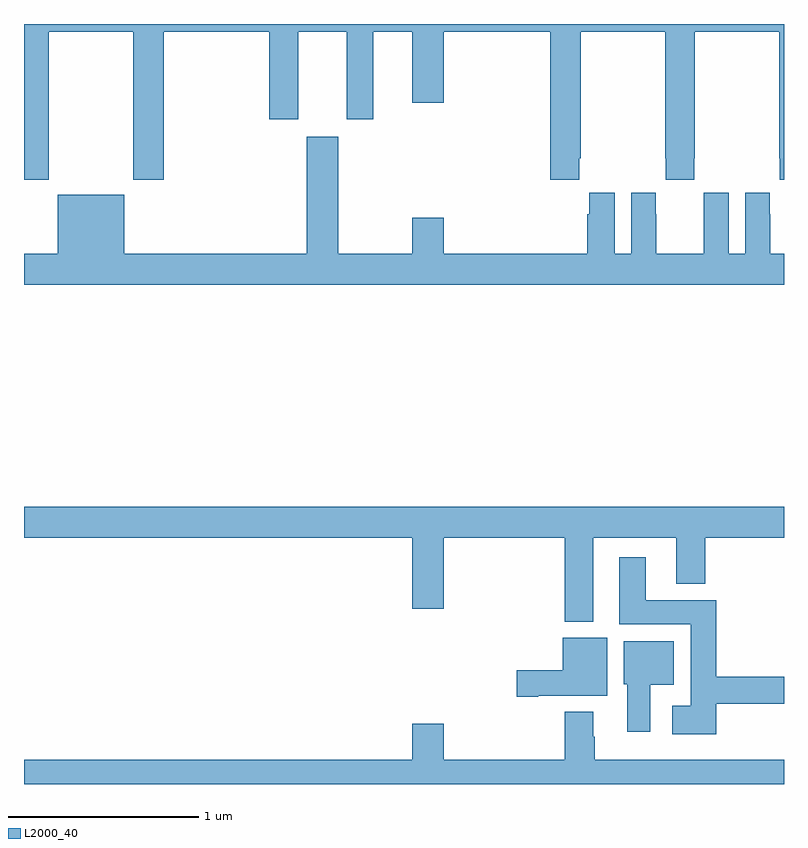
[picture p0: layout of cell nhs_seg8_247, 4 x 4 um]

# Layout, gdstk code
import gdstk
lib = gdstk.Library(unit=1e-6, precision=1e-09)
def P(c, l, *ps):  # polygons
    for p in ps: c.add(gdstk.Polygon(p, *l))
L2000_40 = (2000, 40)

nhs_seg8_247 = lib.new_cell('nhs_seg8_247')
P(nhs_seg8_247, L2000_40, [(127.131,1089.86),(127.576,1089.86),(127.576,1089.081),(127.736,1089.081),(127.736,1089.86),(128.291,1089.86),(128.291,1089.399),(128.443,1089.399),(128.443,1089.86),(128.699,1089.86),(128.699,1089.399),(128.839,1089.399),(128.839,1089.86),(129.044,1089.86),(129.044,1089.486),(129.208,1089.486),(129.208,1089.86),(129.77,1089.86),(129.77,1089.081),(129.923,1089.081),(129.923,1089.193),(129.93,1089.193),(129.93,1089.86),(130.375,1089.86),(130.375,1089.193),(130.377,1089.193),(130.377,1089.081),(130.527,1089.081),(130.527,1089.193),(130.53,1089.193),(130.53,1089.86),(130.975,1089.86),(130.975,1089.193),(130.977,1089.193),(130.977,1089.081),(131,1089.081),(131,1089.9),(127,1089.9),(127,1089.081),(127.131,1089.081)],
  [(131,1088.692),(130.927,1088.692),(130.927,1088.9),(130.926,1088.9),(130.926,1089.013),(130.796,1089.013),(130.796,1088.692),(130.708,1088.692),(130.708,1089.013),(130.578,1089.013),(130.578,1088.9),(130.577,1088.9),(130.577,1088.692),(130.327,1088.692),(130.327,1088.9),(130.326,1088.9),(130.326,1089.013),(130.196,1089.013),(130.196,1088.692),(130.108,1088.692),(130.108,1089.013),(129.974,1089.013),(129.974,1088.9),(129.965,1088.9),(129.965,1088.692),(129.208,1088.692),(129.208,1088.881),(129.044,1088.881),(129.044,1088.692),(128.653,1088.692),(128.653,1089.307),(128.489,1089.307),(128.489,1088.692),(127.528,1088.692),(127.528,1089.001),(127.178,1089.001),(127.178,1088.692),(127,1088.692),(127,1088.528),(131,1088.528)],
  [(129.997,1087.196),(130.433,1087.196),(130.433,1086.953),(130.586,1086.953),(130.586,1087.196),(131,1087.196),(131,1087.36),(127,1087.36),(127,1087.196),(129.044,1087.196),(129.044,1086.822),(129.208,1086.822),(129.208,1087.196),(129.845,1087.196),(129.845,1086.755),(129.997,1086.755)],
  [(130.643,1086.322),(131,1086.322),(131,1086.464),(130.643,1086.464),(130.643,1086.868),(130.273,1086.868),(130.273,1087.093),(130.133,1087.093),(130.133,1086.74),(130.508,1086.74),(130.508,1086.313),(130.413,1086.313),(130.413,1086.161),(130.643,1086.161)],
  [(129.706,1086.365),(130.069,1086.365),(130.069,1086.67),(129.836,1086.67),(129.836,1086.5),(129.594,1086.5),(129.594,1086.358),(129.706,1086.358)],
  [(130.297,1086.422),(130.42,1086.422),(130.42,1086.652),(130.157,1086.652),(130.157,1086.426),(130.175,1086.426),(130.175,1086.174),(130.297,1086.174)],
  [(131,1086.028),(130.005,1086.028),(130.005,1086.149),(129.997,1086.149),(129.997,1086.28),(129.845,1086.28),(129.845,1086.028),(129.208,1086.028),(129.208,1086.217),(129.044,1086.217),(129.044,1086.028),(127,1086.028),(127,1085.9),(131,1085.9)])

lib.write_gds('nhs_seg8_247.gds')
